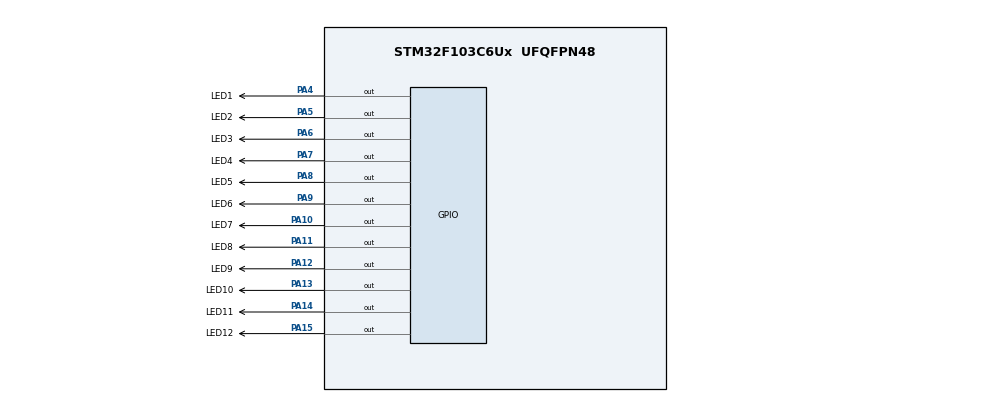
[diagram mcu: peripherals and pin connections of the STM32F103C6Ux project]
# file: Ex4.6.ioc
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Mcu.Family=STM32F1
Mcu.Name=STM32F103C6Ux
Mcu.Package=UFQFPN48
NVIC.PriorityGroup=NVIC_PRIORITYGROUP_4
PA10.GPIO_Label=LED7
PA10.Signal=GPIO_Output
PA11.GPIO_Label=LED8
PA11.Signal=GPIO_Output
PA12.GPIO_Label=LED9
PA12.Signal=GPIO_Output
PA13.GPIO_Label=LED10
PA13.Signal=GPIO_Output
PA14.GPIO_Label=LED11
PA14.Signal=GPIO_Output
PA15.GPIO_Label=LED12
PA15.Signal=GPIO_Output
PA4.GPIO_Label=LED1
PA4.Signal=GPIO_Output
PA5.GPIO_Label=LED2
PA5.Signal=GPIO_Output
PA6.GPIO_Label=LED3
PA6.Signal=GPIO_Output
PA7.GPIO_Label=LED4
PA7.Signal=GPIO_Output
PA8.GPIO_Label=LED5
PA8.Signal=GPIO_Output
PA9.GPIO_Label=LED6
PA9.Signal=GPIO_Output
ProjectManager.HeapSize=0x200
ProjectManager.StackSize=0x400
ProjectManager.TargetToolchain=STM32CubeIDE
RCC.APB1Freq_Value=8000000
RCC.APB2Freq_Value=8000000
VP_SYS_VS_ND.Mode=No_Debug
board=custom

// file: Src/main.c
/* USER CODE BEGIN Header */
/**
  ******************************************************************************
  * @file           : main.c
  * @brief          : Main program body
  ******************************************************************************
  * @attention
  *
  * <h2><center>&copy; Copyright (c) 2022 STMicroelectronics.
  * All rights reserved.</center></h2>
  *
  * This software component is licensed by ST under BSD 3-Clause license,
  * the "License"; You may not use this file except in compliance with the
  * License. You may obtain a copy of the License at:
  *                        opensource.org/licenses/BSD-3-Clause
  *
  ******************************************************************************
  */
/* USER CODE END Header */
#include "main.h"

void SystemClock_Config(void);
static void MX_GPIO_Init(void);

int main(void)
{

  /* MCU Configuration--------------------------------------------------------*/

  /* Reset of all peripherals, Initializes the Flash interface and the Systick. */
  HAL_Init();

  /* USER CODE BEGIN Init */
  void setNumberOnClock(int num);
  void clearNumberOnClock(int num);

  /* USER CODE END Init */

  /* Configure the system clock */
  SystemClock_Config();

  /* Initialize all configured peripherals */
  MX_GPIO_Init();

  /* Infinite loop */
  while (1)
  {
	  int counter = 0;
	   while (1) {
	   if( counter >= 11) counter = 0;
	   clearNumberOnClock( counter ++) ;
	   HAL_Delay (1000) ;
	   }

  }
}

void SystemClock_Config(void)
{
  RCC_OscInitTypeDef RCC_OscInitStruct = {0};
  RCC_ClkInitTypeDef RCC_ClkInitStruct = {0};

  /** Initializes the RCC Oscillators according to the specified parameters
  * in the RCC_OscInitTypeDef structure.
  */
  RCC_OscInitStruct.OscillatorType = RCC_OSCILLATORTYPE_HSI;
  RCC_OscInitStruct.HSIState = RCC_HSI_ON;
  RCC_OscInitStruct.HSICalibrationValue = RCC_HSICALIBRATION_DEFAULT;
  RCC_OscInitStruct.PLL.PLLState = RCC_PLL_NONE;
  if (HAL_RCC_OscConfig(&RCC_OscInitStruct) != HAL_OK)
  {
    Error_Handler();
  }
  /** Initializes the CPU, AHB and APB buses clocks
  */
  RCC_ClkInitStruct.ClockType = RCC_CLOCKTYPE_HCLK|RCC_CLOCKTYPE_SYSCLK
                              |RCC_CLOCKTYPE_PCLK1|RCC_CLOCKTYPE_PCLK2;
  RCC_ClkInitStruct.SYSCLKSource = RCC_SYSCLKSOURCE_HSI;
  RCC_ClkInitStruct.AHBCLKDivider = RCC_SYSCLK_DIV1;
  RCC_ClkInitStruct.APB1CLKDivider = RCC_HCLK_DIV1;
  RCC_ClkInitStruct.APB2CLKDivider = RCC_HCLK_DIV1;

  if (HAL_RCC_ClockConfig(&RCC_ClkInitStruct, FLASH_LATENCY_0) != HAL_OK)
  {
    Error_Handler();
  }
}

static void MX_GPIO_Init(void)
{
  GPIO_InitTypeDef GPIO_InitStruct = {0};

  /* GPIO Ports Clock Enable */
  __HAL_RCC_GPIOA_CLK_ENABLE();

  /*Configure GPIO pin Output Level */
  HAL_GPIO_WritePin(GPIOA, LED1_Pin|LED2_Pin|LED3_Pin|LED4_Pin
                          |LED5_Pin|LED6_Pin|LED7_Pin|LED8_Pin
                          |LED9_Pin|LED10_Pin|LED11_Pin|LED12_Pin, GPIO_PIN_RESET);

  /*Configure GPIO pins : LED1_Pin LED2_Pin LED3_Pin LED4_Pin
                           LED5_Pin LED6_Pin LED7_Pin LED8_Pin
                           LED9_Pin LED10_Pin LED11_Pin LED12_Pin */
  GPIO_InitStruct.Pin = LED1_Pin|LED2_Pin|LED3_Pin|LED4_Pin
                          |LED5_Pin|LED6_Pin|LED7_Pin|LED8_Pin
                          |LED9_Pin|LED10_Pin|LED11_Pin|LED12_Pin;
  GPIO_InitStruct.Mode = GPIO_MODE_OUTPUT_PP;
  GPIO_InitStruct.Pull = GPIO_NOPULL;
  GPIO_InitStruct.Speed = GPIO_SPEED_FREQ_LOW;
  HAL_GPIO_Init(GPIOA, &GPIO_InitStruct);

}

/* USER CODE BEGIN 4 */
void setNumberOnClock(int num){
	HAL_GPIO_WritePin(LED1_GPIO_Port, LED1_Pin, 1);
	HAL_GPIO_WritePin(LED2_GPIO_Port, LED2_Pin, 1);
	HAL_GPIO_WritePin(LED3_GPIO_Port, LED3_Pin, 1);
	HAL_GPIO_WritePin(LED4_GPIO_Port, LED4_Pin, 1);
	HAL_GPIO_WritePin(LED5_GPIO_Port, LED5_Pin, 1);
	HAL_GPIO_WritePin(LED6_GPIO_Port, LED6_Pin, 1);
	HAL_GPIO_WritePin(LED7_GPIO_Port, LED7_Pin, 1);
	HAL_GPIO_WritePin(LED8_GPIO_Port, LED8_Pin, 1);
	HAL_GPIO_WritePin(LED9_GPIO_Port, LED9_Pin, 1);
	HAL_GPIO_WritePin(LED10_GPIO_Port, LED10_Pin, 1);
	HAL_GPIO_WritePin(LED11_GPIO_Port, LED11_Pin, 1);
	HAL_GPIO_WritePin(LED12_GPIO_Port, LED12_Pin, 1);
		switch(num){
		case 0:{
			HAL_GPIO_WritePin(LED1_GPIO_Port, LED1_Pin, 0);
			break;
		}
		case 1:{
			HAL_GPIO_WritePin(LED2_GPIO_Port, LED2_Pin, 0);
			break;
		}
		case 2:{
			HAL_GPIO_WritePin(LED3_GPIO_Port, LED3_Pin, 0);
			break;
		}
		case 3:{
			HAL_GPIO_WritePin(LED4_GPIO_Port, LED4_Pin, 0);
			break;
		}
		case 4:{
			HAL_GPIO_WritePin(LED5_GPIO_Port, LED5_Pin, 0);
			break;
		}
		case 5:{
			HAL_GPIO_WritePin(LED6_GPIO_Port, LED6_Pin, 0);
			break;
		}
		case 6:{
			HAL_GPIO_WritePin(LED7_GPIO_Port, LED7_Pin, 0);
			break;
		}
		case 7:{
			HAL_GPIO_WritePin(LED8_GPIO_Port, LED8_Pin, 0);
			break;
		}
		case 8:{
			HAL_GPIO_WritePin(LED9_GPIO_Port, LED9_Pin, 0);
			break;
		}
		case 9:{
			HAL_GPIO_WritePin(LED10_GPIO_Port, LED10_Pin, 0);
			break;
		}
		case 10:{
			HAL_GPIO_WritePin(LED11_GPIO_Port, LED11_Pin, 0);
			break;
		}
		case 11:{
			HAL_GPIO_WritePin(LED12_GPIO_Port, LED12_Pin, 0);
			break;
		}
		default: break;
		}
}

void clearNumberOnClock(int num){
	switch(num){
			case 0:{
				HAL_GPIO_WritePin(LED1_GPIO_Port, LED1_Pin, 1);
				break;
			}
			case 1:{
				HAL_GPIO_WritePin(LED2_GPIO_Port, LED2_Pin, 1);
				break;
			}
			case 2:{
				HAL_GPIO_WritePin(LED3_GPIO_Port, LED3_Pin, 1);
				break;
			}
			case 3:{
				HAL_GPIO_WritePin(LED4_GPIO_Port, LED4_Pin, 1);
				break;
			}
			case 4:{
				HAL_GPIO_WritePin(LED5_GPIO_Port, LED5_Pin, 1);
				break;
			}
			case 5:{
				HAL_GPIO_WritePin(LED6_GPIO_Port, LED6_Pin, 1);
				break;
			}
			case 6:{
				HAL_GPIO_WritePin(LED7_GPIO_Port, LED7_Pin, 1);
				break;
			}
			case 7:{
				HAL_GPIO_WritePin(LED8_GPIO_Port, LED8_Pin, 1);
				break;
			}
			case 8:{
				HAL_GPIO_WritePin(LED9_GPIO_Port, LED9_Pin, 1);
				break;
			}
			case 9:{
				HAL_GPIO_WritePin(LED10_GPIO_Port, LED10_Pin, 1);
				break;
			}
			case 10:{
				HAL_GPIO_WritePin(LED11_GPIO_Port, LED11_Pin, 1);
				break;
			}
			case 11:{
				HAL_GPIO_WritePin(LED12_GPIO_Port, LED12_Pin, 1);
				break;
			}
			default: break;
			}
}

/* USER CODE END 4 */

void Error_Handler(void)
{
  __disable_irq();
  while (1)
  {
  }
}

/************************ (C) COPYRIGHT STMicroelectronics *****END OF FILE****/
